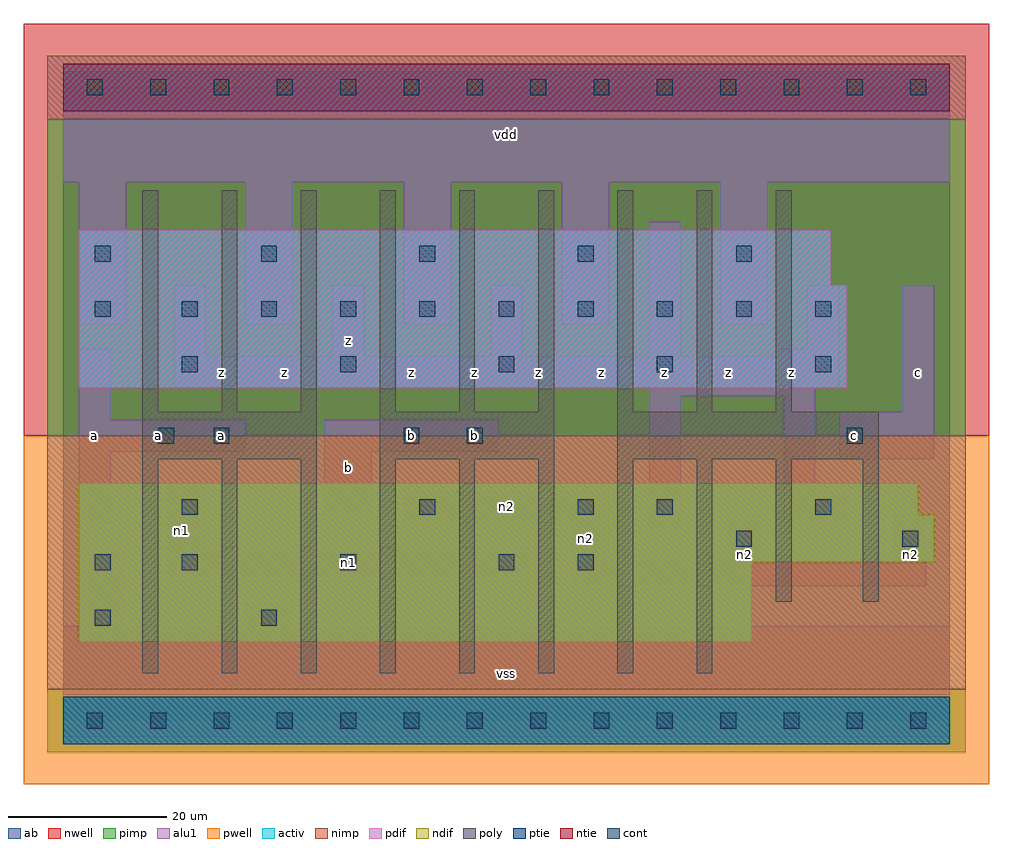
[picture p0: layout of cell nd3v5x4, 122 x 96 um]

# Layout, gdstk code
import gdstk
lib = gdstk.Library(unit=1e-6, precision=1e-09)
def R(c, l, rs):  # rectangles x0, y0, x1, y1
    for r in rs: c.add(gdstk.rectangle(r[:2], r[2:], *l))
def A(c, l, x, y, w, h, nx, ny, dx, dy):  # array of equal rectangles
    R(c, l, [(x+i*dx, y+j*dy, x+i*dx+w, y+j*dy+h) for i in range(nx) for j in range(ny)])
ndif = (3, 0)
pdif = (4, 0)
ntie = (5, 0)
ptie = (6, 0)
cont = (25, 0)
pwell = (41, 0)
nwell = (42, 0)
activ = (43, 0)
pimp = (44, 0)
nimp = (45, 0)
poly = (46, 0)
alu1 = (49, 0)
ab = (63, 0)

nd3v5x4 = lib.new_cell('nd3v5x4')
R(nd3v5x4, ndif, [(2,10,87,20), (2,20,110,26), (2,26,108,30)])
R(nd3v5x4, pdif, [(2,42,99,55), (2,55,97,62)])
R(nd3v5x4, ntie, [(0,77,112,83)])
R(nd3v5x4, ptie, [(0,-3,112,3)])
A(nd3v5x4, cont, 3, -1, 2, 2, 14, 2, 8, 80)
A(nd3v5x4, cont, 15, 19, 2, 2, 3, 1, 20, 0)
A(nd3v5x4, cont, 15, 44, 2, 2, 5, 1, 20, 0)
A(nd3v5x4, cont, 15, 51, 2, 2, 9, 1, 10, 0)
A(nd3v5x4, cont, 25, 58, 2, 2, 4, 1, 20, 0)
R(nd3v5x4, cont, [(4,12,6,14), (25,12,27,14), (4,19,6,21), (65,19,67,21), (85,22,87,24), (106,22,108,24), (15,26,17,28), (45,26,47,28), (65,26,67,28), (75,26,77,28), (95,26,97,28), (12,35,14,37), (19,35,21,37), (43,35,45,37), (51,35,53,37), (99,35,101,37), (4,51,6,53), (4,58,6,60)])
R(nd3v5x4, pwell, [(-5,-8,117,36)])
R(nd3v5x4, nwell, [(-5,36,117,88)])
R(nd3v5x4, activ, [(0,-3,112,3), (2,10,87,20), (2,20,110,26), (2,26,108,30), (2,42,99,55), (2,55,97,62), (0,77,112,83)])
R(nd3v5x4, pimp, [(-2,-4,114,4), (-2,36,114,76)])
R(nd3v5x4, nimp, [(-2,4,114,36), (-2,76,114,84)])
A(nd3v5x4, poly, 10, 6, 2, 27, 8, 1, 10, 0)
A(nd3v5x4, poly, 10, 39, 2, 28, 9, 1, 10, 0)
R(nd3v5x4, poly, [(90,15,92,33), (101,15,103,33), (10,33,32,39), (40,33,62,39), (70,33,103,39)])
A(nd3v5x4, alu1, 14, 46, 4, 9, 3, 1, 20, 0)
A(nd3v5x4, alu1, 23, 50, 6, 18, 4, 1, 20, 0)
R(nd3v5x4, alu1, [(0,-2,112,12), (2,12,8,22), (23,12,29,15), (64,17,109,21), (13,18,59,22), (64,21,69,25), (84,21,88,26), (105,21,109,26), (13,22,18,30), (74,24,78,41), (2,25,6,34), (43,25,69,29), (91,25,99,29), (33,26,39,34), (91,29,95,41), (98,33,110,39), (2,34,23,38), (33,34,55,38), (2,38,6,47), (106,39,110,55), (74,41,95,42), (14,42,98,46), (74,46,78,63), (90,46,98,47), (94,47,98,55), (2,50,8,68), (0,68,112,82)])
R(nd3v5x4, ab, [(0,0,112,80)])
nd3v5x4.add(gdstk.Label('n1', (15,24), layer=49, texttype=0))
nd3v5x4.add(gdstk.Label('n2', (66,23), layer=49, texttype=0))
nd3v5x4.add(gdstk.Label('n1', (36,20), layer=49, texttype=0))
nd3v5x4.add(gdstk.Label('n2', (56,27), layer=49, texttype=0))
nd3v5x4.add(gdstk.Label('n2', (107,21), layer=49, texttype=0))
nd3v5x4.add(gdstk.Label('n2', (86,21), layer=49, texttype=0))
nd3v5x4.add(gdstk.Label('a', (20,36), layer=49, texttype=0))
nd3v5x4.add(gdstk.Label('a', (12,36), layer=49, texttype=0))
nd3v5x4.add(gdstk.Label('a', (4,36), layer=49, texttype=0))
nd3v5x4.add(gdstk.Label('z', (20,44), layer=49, texttype=0))
nd3v5x4.add(gdstk.Label('b', (52,36), layer=49, texttype=0))
nd3v5x4.add(gdstk.Label('b', (44,36), layer=49, texttype=0))
nd3v5x4.add(gdstk.Label('b', (36,32), layer=49, texttype=0))
nd3v5x4.add(gdstk.Label('z', (44,44), layer=49, texttype=0))
nd3v5x4.add(gdstk.Label('z', (52,44), layer=49, texttype=0))
nd3v5x4.add(gdstk.Label('z', (28,44), layer=49, texttype=0))
nd3v5x4.add(gdstk.Label('z', (36,48), layer=49, texttype=0))
nd3v5x4.add(gdstk.Label('vss', (56,6), layer=49, texttype=0))
nd3v5x4.add(gdstk.Label('z', (68,44), layer=49, texttype=0))
nd3v5x4.add(gdstk.Label('z', (76,44), layer=49, texttype=0))
nd3v5x4.add(gdstk.Label('z', (60,44), layer=49, texttype=0))
nd3v5x4.add(gdstk.Label('vdd', (56,74), layer=49, texttype=0))
nd3v5x4.add(gdstk.Label('c', (100,36), layer=49, texttype=0))
nd3v5x4.add(gdstk.Label('z', (92,44), layer=49, texttype=0))
nd3v5x4.add(gdstk.Label('c', (108,44), layer=49, texttype=0))
nd3v5x4.add(gdstk.Label('z', (84,44), layer=49, texttype=0))

lib.write_gds('nd3v5x4.gds')
